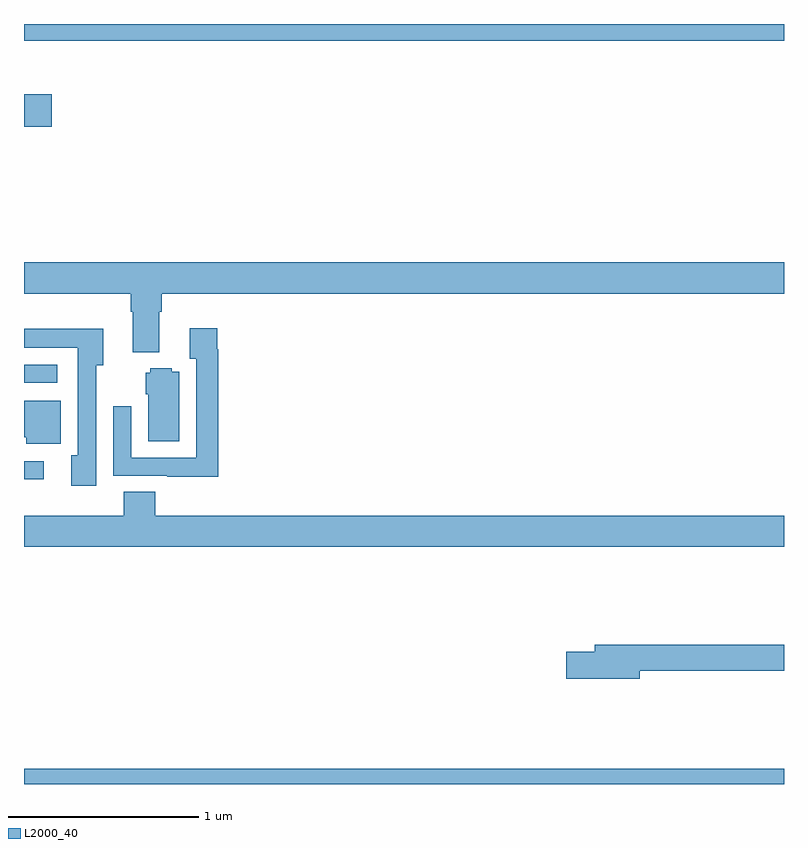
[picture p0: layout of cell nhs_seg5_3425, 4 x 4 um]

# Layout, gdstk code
import gdstk
lib = gdstk.Library(unit=1e-6, precision=1e-09)
def R(c, l, rs):  # rectangles x0, y0, x1, y1
    for r in rs: c.add(gdstk.rectangle(r[:2], r[2:], *l))
def P(c, l, *ps):  # polygons
    for p in ps: c.add(gdstk.Polygon(p, *l))
L2000_40 = (2000, 40)

nhs_seg5_3425 = lib.new_cell('nhs_seg5_3425')
R(nhs_seg5_3425, L2000_40, [(311,900.799,315,900.88), (311,902.402,311.104,902.499), (311,902.91,311.176,903.006), (311,904.259,311.146,904.429), (311,904.712,315,904.799)])
P(nhs_seg5_3425, L2000_40, [(311,903.38),(311.561,903.38),(311.561,903.284),(311.573,903.284),(311.573,903.071),(311.713,903.071),(311.713,903.284),(311.726,903.284),(311.726,903.38),(315,903.38),(315,903.544),(311,903.544)],
  [(312.023,903.086),(312.016,903.086),(312.016,903.199),(311.873,903.199),(311.873,903.038),(311.907,903.038),(311.907,902.517),(311.565,902.517),(311.565,902.788),(311.469,902.788),(311.469,902.421),(311.753,902.421),(311.753,902.417),(312.023,902.417)],
  [(311.379,903.002),(311.416,903.002),(311.416,903.194),(311,903.194),(311,903.096),(311.283,903.096),(311.283,902.53),(311.249,902.53),(311.249,902.37),(311.379,902.37)],
  [(311.818,902.968),(311.778,902.968),(311.778,902.986),(311.664,902.986),(311.664,902.964),(311.642,902.964),(311.642,902.85),(311.654,902.85),(311.654,902.602),(311.818,902.602)],
  [(311.194,902.817),(311,902.817),(311,902.625),(311.013,902.625),(311.013,902.589),(311.194,902.589)],
  [(315,902.212),(311.69,902.212),(311.69,902.336),(311.525,902.336),(311.525,902.212),(311,902.212),(311,902.048),(315,902.048)],
  [(314.242,901.396),(315,901.396),(315,901.532),(314.003,901.532),(314.003,901.496),(313.854,901.496),(313.854,901.354),(314.242,901.354)])

lib.write_gds('nhs_seg5_3425.gds')
